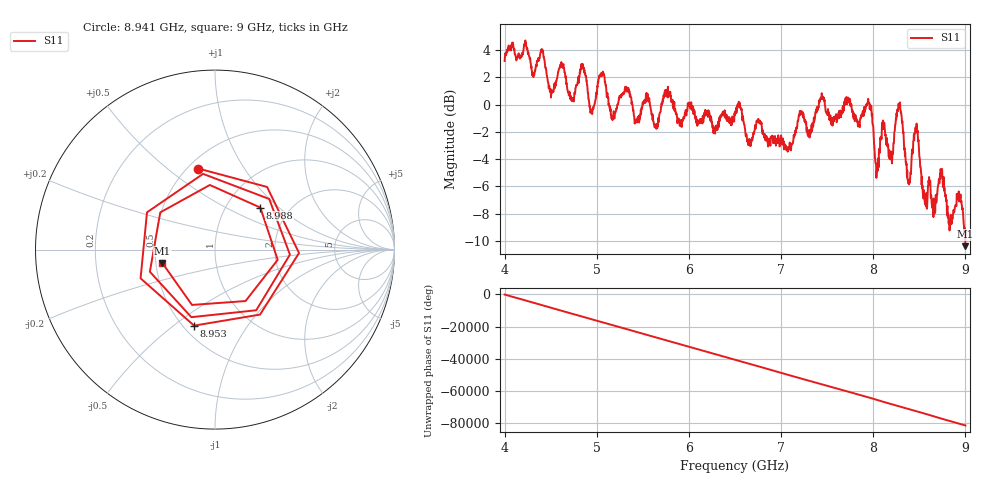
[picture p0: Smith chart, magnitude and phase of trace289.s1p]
! Created with skrf 1.8.0 (http://scikit-rf.org).
# Hz S RI R 50.0
!freq ReS11 ImS11
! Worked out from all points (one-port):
!   1601 points, 4 GHz to 9 GHz, reference 50 ohm
!   lowest |S11| = -10.4 dB at 9 GHz (marker M1), VSWR 1.87, Z = 27 - j4.41 ohm
!   |S11| at or under -10 dB: 8.998684 GHz to end of sweep
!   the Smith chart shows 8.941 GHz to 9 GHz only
!   S11 on the Smith chart (normalised r, x): 8.941 GHz: 0.56, +0.65; 8.953 GHz: 0.57, -0.59; 8.988 GHz: 1.44, +0.76; 9 GHz: 0.54, -0.09
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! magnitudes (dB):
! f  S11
! 4 GHz  3.2
! 4.406 GHz  4.1
! 4.512 GHz  0.9
! 4.625 GHz  2.8
! 4.731 GHz  0.3
! 4.841 GHz  3.0
! 4.944 GHz  -0.4
! 5.05 GHz  2.1
! 5.172 GHz  -0.9
! 5.25 GHz  0.6
! 5.875 GHz  -1.4
! 6.5 GHz  -0.8
! 7.125 GHz  -2.9
! 7.438 GHz  0.4
! 7.75 GHz  0.3
! 7.962 GHz  -0.3
! 8.041 GHz  -4.7
! 8.109 GHz  -1.8
! 8.2 GHz  -4.0
! 8.284 GHz  0.0
! 8.375 GHz  -5.5
! 8.466 GHz  -1.8
! 8.562 GHz  -7.3
! 8.728 GHz  -5.4
! 8.941 GHz  -6.7
! 8.953 GHz  -7.1
! 8.988 GHz  -9.3
! 9 GHz  -10.4
